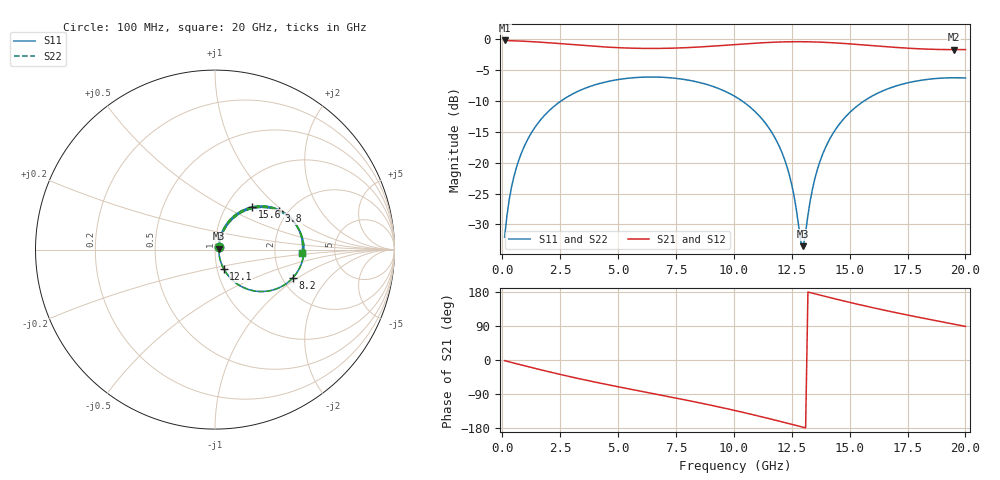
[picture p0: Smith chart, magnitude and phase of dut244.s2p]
! Touchstone file exported from HFSS 2026.1.0
!  File:  C:/ffzhzh/LocalFiles/Ansys_Project_Files/temp_train_TSV_RDL_244_1783066694_18316.aedt
!  Generated:  04:30:34 PM Jul  3, 2026
!  Design:  TSV_RDL
!  Project:  temp_train_TSV_RDL_244_1783066694_18316
! Variables:
!  h_bsmrdl = 5.04um
!  h_ox = 20um
!  h_rdl = 5um
!  h_sub = 50.62um
!  h_tmrdl = 2.87um
!  h_tsv = 50.62um
!  h_via = 3um
!  l_bsmrdl = 139.97um
!  l_sub = 4932.54um
!  l_tmrdl = 989.99um
!  m_sub = 200um
!  pitch = 53.65um
!  r_tsv = 11.1um
!  s_tmrdl = 10um
!  w_bsmrdl = 21.7um
!  w_sub = 500um
!  w_tmrdl = 29.19um
!  x_tsv_center1 = 1004.585um
!  x_tsv_center2 = 1166.255um
!  x_tsv_center3 = 2185.435um
!  x_tsv_center4 = 2347.105um
!  x_tsv_center5 = 3366.285um
!  x_tsv_center6 = 3527.955um
# GHz S MA R 50.000000
! Terminal data exported
! Port[1] = TM_RDL1_1_T1
! Port[2] = TM_RDL5_1_T1
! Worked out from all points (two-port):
!   200 points, 100 MHz to 20 GHz, reference 50 ohm
!   highest |S21| = -0.17 dB at 100 MHz (marker M1); lowest = -1.7 dB at 19.5 GHz (marker M2)
!   |S21| within 3 dB of the highest: start of sweep to end of sweep
!   lowest |S11| = -33.5 dB at 13 GHz (marker M3), VSWR 1.04, Z = 52.1 + j0.477 ohm
!   |S11| at or under -10 dB: start of sweep to 2.532 GHz; 10.36 GHz to 15.62 GHz (5.256 GHz wide, 40.5 % of centre)
!   |S22| runs from -33.5 to -6.1 dB; largest |S21 - S12| = 1.7e-14
!   S11 on the Smith chart (normalised r, x): 100 MHz: 1.04, +0.03; 3.8 GHz: 1.79, +0.93; 8.2 GHz: 2.28, -0.91; 12.1 GHz: 1.08, -0.23; 15.6 GHz: 1.31, +0.69; 20 GHz: 2.88, -0.14
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0.1  0.02491 38.0  0.9807 -1.7  0.9807 -1.7  0.02491 38.0
! Gamma 0 0 0 0
! Port Impedance 50 0 50 0
0.3  0.05034 59.9  0.9776 -4.9  0.9776 -4.9  0.05034 59.9
0.5  0.07685 64.5  0.9743 -8.1  0.9743 -8.1  0.07685 64.5
1.1  0.1549 63.3  0.9632 -17.4  0.9632 -17.4  0.1549 63.4
2.1  0.2725 52.4  0.9367 -32.3  0.9367 -32.3  0.2725 52.4
3.5  0.3965 34.9  0.8931 -51.7  0.8931 -51.7  0.3965 34.9
3.8  0.4162 31.2  0.8844 -55.6  0.8844 -55.6  0.4162 31.2
6.8  0.4942 -3.8  0.8452 -92.1  0.8452 -92.1  0.4942 -3.7
8.2  0.4612 -20.0  0.8617 -109.1  0.8617 -109.1  0.4612 -20.0
10.1  0.3403 -43.3  0.9098 -134.0  0.9098 -134.0  0.3403 -43.3
11.3  0.2166 -58.3  0.941 -151.3  0.941 -151.3  0.2166 -58.2
12.1  0.1179 -65.6  0.9545 -163.5  0.9545 -163.5  0.1179 -65.5
12.5  0.06641 -63.7  0.9576 -169.7  0.9576 -169.7  0.06644 -63.6
12.9  0.02255 -21.9  0.9581 -176.0  0.9581 -176.0  0.02261 -21.8
13  0.02104 12.6  0.9578 -177.5  0.9578 -177.5  0.0211 12.6
13.4  0.06171 65.1  0.9548 176.2  0.9548 176.2  0.06172 65.1
13.7  0.09998 68.2  0.9508 171.6  0.9508 171.6  0.09999 68.2
14.2  0.1628 65.4  0.9413 164.0  0.9413 164.0  0.1628 65.4
15.6  0.3146 49.0  0.9021 143.6  0.9021 143.6  0.3146 49.1
16.7  0.4007 35.5  0.869 128.8  0.869 128.8  0.4007 35.6
19.5  0.4886 3.4  0.826 94.6  0.826 94.6  0.4886 3.5
20  0.4861 -2.2  0.8272 88.7  0.8272 88.7  0.4861 -2.1
